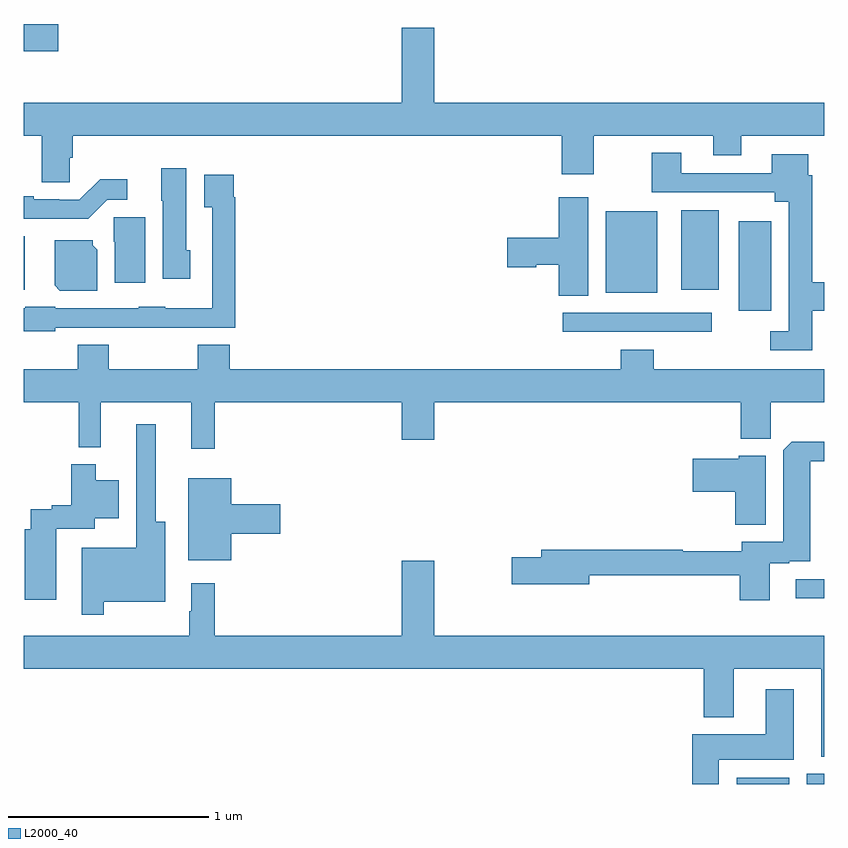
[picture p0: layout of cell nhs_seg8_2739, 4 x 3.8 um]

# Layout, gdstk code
import gdstk
lib = gdstk.Library(unit=1e-6, precision=1e-09)
def R(c, l, rs):  # rectangles x0, y0, x1, y1
    for r in rs: c.add(gdstk.rectangle(r[:2], r[2:], *l))
def P(c, l, *ps):  # polygons
    for p in ps: c.add(gdstk.Polygon(p, *l))
L2000_40 = (2000, 40)

nhs_seg8_2739 = lib.new_cell('nhs_seg8_2739')
R(nhs_seg8_2739, L2000_40, [(286.562,1139.9,286.825,1139.932), (286.913,1139.9,287,1139.95), (286.857,1140.828,287,1140.924), (285.693,1142.16,286.438,1142.256), (286.574,1142.265,286.735,1142.713), (285.908,1142.354,286.165,1142.761), (283,1142.369,283.006,1142.638), (286.286,1142.369,286.474,1142.767), (283,1143.563,283.171,1143.698)])
P(nhs_seg8_2739, L2000_40, [(283.23,1143.03),(283.244,1143.03),(283.244,1143.14),(285.689,1143.14),(285.689,1142.946),(285.849,1142.946),(285.849,1143.14),(286.445,1143.14),(286.445,1143.041),(286.585,1143.041),(286.585,1143.14),(287,1143.14),(287,1143.304),(285.052,1143.304),(285.052,1143.679),(284.888,1143.679),(284.888,1143.304),(283,1143.304),(283,1143.14),(283.091,1143.14),(283.091,1142.908),(283.23,1142.908)],
  [(286.94,1142.266),(287,1142.266),(287,1142.408),(286.94,1142.408),(286.94,1142.942),(286.921,1142.942),(286.921,1143.046),(286.739,1143.046),(286.739,1142.952),(286.285,1142.952),(286.285,1143.055),(286.138,1143.055),(286.138,1142.856),(286.754,1142.856),(286.754,1142.81),(286.824,1142.81),(286.824,1142.163),(286.731,1142.163),(286.731,1142.067),(286.94,1142.067)],
  [(283.831,1142.568),(283.813,1142.568),(283.813,1142.977),(283.688,1142.977),(283.688,1142.814),(283.694,1142.814),(283.694,1142.424),(283.831,1142.424)],
  [(283.158,1142.181),(283.575,1142.181),(283.575,1142.18),(283.807,1142.18),(283.807,1142.181),(284.057,1142.181),(284.057,1142.831),(284.05,1142.831),(284.05,1142.944),(283.901,1142.944),(283.901,1142.783),(283.941,1142.783),(283.941,1142.278),(283.707,1142.278),(283.707,1142.284),(283.575,1142.284),(283.575,1142.277),(283.158,1142.277),(283.158,1142.284),(283.008,1142.284),(283.008,1142.278),(283,1142.278),(283,1142.162),(283.158,1142.162)],
  [(283.416,1142.82),(283.516,1142.82),(283.516,1142.923),(283.381,1142.923),(283.278,1142.82),(283.178,1142.82),(283.178,1142.823),(283.051,1142.823),(283.051,1142.836),(283,1142.836),(283,1142.726),(283.322,1142.726)],
  [(285.82,1142.833),(285.674,1142.833),(285.674,1142.63),(285.417,1142.63),(285.417,1142.483),(285.56,1142.483),(285.56,1142.495),(285.674,1142.495),(285.674,1142.341),(285.82,1142.341)],
  [(283.606,1142.733),(283.45,1142.733),(283.45,1142.61),(283.454,1142.61),(283.454,1142.406),(283.606,1142.406)],
  [(283.366,1142.57),(283.344,1142.592),(283.344,1142.617),(283.154,1142.617),(283.154,1142.392),(283.18,1142.366),(283.366,1142.366)],
  [(283.955,1141.808),(284.888,1141.808),(284.888,1141.62),(285.052,1141.62),(285.052,1141.808),(286.583,1141.808),(286.583,1141.626),(286.733,1141.626),(286.733,1141.808),(287,1141.808),(287,1141.972),(286.148,1141.972),(286.148,1142.071),(285.983,1142.071),(285.983,1141.972),(284.03,1141.972),(284.03,1142.096),(283.87,1142.096),(283.87,1141.972),(283.425,1141.972),(283.425,1142.096),(283.27,1142.096),(283.27,1141.972),(283,1141.972),(283,1141.808),(283.275,1141.808),(283.275,1141.583),(283.385,1141.583),(283.385,1141.808),(283.838,1141.808),(283.838,1141.575),(283.955,1141.575)],
  [(283.399,1140.812),(283.708,1140.812),(283.708,1141.21),(283.66,1141.21),(283.66,1141.699),(283.563,1141.699),(283.563,1141.081),(283.29,1141.081),(283.29,1140.747),(283.399,1140.747)],
  [(286.729,1141.002),(286.826,1141.002),(286.826,1141.014),(286.93,1141.014),(286.93,1141.512),(287,1141.512),(287,1141.61),(286.838,1141.61),(286.796,1141.568),(286.796,1141.11),(286.589,1141.11),(286.589,1141.063),(286.293,1141.063),(286.293,1141.07),(285.587,1141.07),(285.587,1141.034),(285.438,1141.034),(285.438,1140.899),(285.826,1140.899),(285.826,1140.942),(286.577,1140.942),(286.577,1140.819),(286.729,1140.819)],
  [(286.708,1141.54),(286.572,1141.54),(286.572,1141.525),(286.344,1141.525),(286.344,1141.36),(286.556,1141.36),(286.556,1141.195),(286.708,1141.195)],
  [(283.162,1141.176),(283.354,1141.176),(283.354,1141.229),(283.474,1141.229),(283.474,1141.417),(283.36,1141.417),(283.36,1141.498),(283.238,1141.498),(283.238,1141.292),(283.14,1141.292),(283.14,1141.272),(283.034,1141.272),(283.034,1141.174),(283.004,1141.174),(283.004,1140.822),(283.162,1140.822)],
  [(284.038,1141.151),(284.281,1141.151),(284.281,1141.298),(284.038,1141.298),(284.038,1141.429),(283.823,1141.429),(283.823,1141.019),(284.038,1141.019)],
  [(287,1140.64),(285.052,1140.64),(285.052,1141.015),(284.888,1141.015),(284.888,1140.64),(283.955,1140.64),(283.955,1140.904),(283.838,1140.904),(283.838,1140.764),(283.827,1140.764),(283.827,1140.64),(283,1140.64),(283,1140.476),(286.397,1140.476),(286.397,1140.233),(286.549,1140.233),(286.549,1140.476),(286.985,1140.476),(286.985,1140.035),(287,1140.035)],
  [(286.474,1140.02),(286.849,1140.02),(286.849,1140.373),(286.709,1140.373),(286.709,1140.148),(286.34,1140.148),(286.34,1139.9),(286.474,1139.9)])

lib.write_gds('nhs_seg8_2739.gds')
